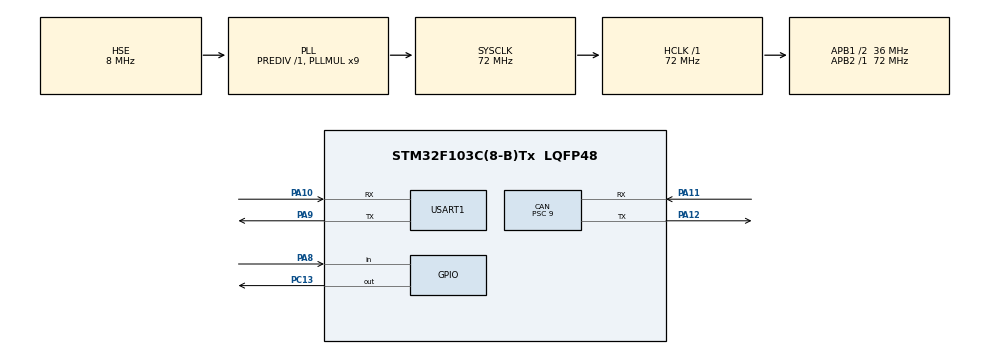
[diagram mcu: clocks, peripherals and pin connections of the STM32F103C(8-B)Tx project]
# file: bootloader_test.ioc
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CAN.BS1=CAN_BS1_12TQ
CAN.BS2=CAN_BS2_3TQ
CAN.CalculateBaudRate=250000
CAN.CalculateTimeBit=4000.00
CAN.CalculateTimeQuantum=250.0
CAN.Prescaler=9
Mcu.Family=STM32F1
Mcu.Name=STM32F103C(8-B)Tx
Mcu.Package=LQFP48
NVIC.PriorityGroup=NVIC_PRIORITYGROUP_4
PA10.Mode=Asynchronous
PA10.Signal=USART1_RX
PA11.Mode=CAN_Activate
PA11.Signal=CAN_RX
PA12.Mode=CAN_Activate
PA12.Signal=CAN_TX
PA13.Mode=Serial_Wire
PA13.Signal=SYS_JTMS-SWDIO
PA14.Mode=Serial_Wire
PA14.Signal=SYS_JTCK-SWCLK
PA8.Signal=GPIO_Input
PA9.Mode=Asynchronous
PA9.Signal=USART1_TX
PC13-TAMPER-RTC.Signal=GPIO_Output
PC14-OSC32_IN.Mode=LSE-External-Oscillator
PC14-OSC32_IN.Signal=RCC_OSC32_IN
PC15-OSC32_OUT.Mode=LSE-External-Oscillator
PC15-OSC32_OUT.Signal=RCC_OSC32_OUT
PD0-OSC_IN.Mode=HSE-External-Oscillator
PD0-OSC_IN.Signal=RCC_OSC_IN
PD1-OSC_OUT.Mode=HSE-External-Oscillator
PD1-OSC_OUT.Signal=RCC_OSC_OUT
ProjectManager.HeapSize=0x200
ProjectManager.StackSize=0x400
ProjectManager.TargetToolchain=STM32CubeIDE
RCC.AHBFreq_Value=72000000
RCC.APB1CLKDivider=RCC_HCLK_DIV2
RCC.APB1Freq_Value=36000000
RCC.APB1TimFreq_Value=72000000
RCC.APB2Freq_Value=72000000
RCC.APB2TimFreq_Value=72000000
RCC.HCLKFreq_Value=72000000
RCC.PLLMUL=RCC_PLL_MUL9
RCC.PLLSourceVirtual=RCC_PLLSOURCE_HSE
RCC.SYSCLKFreq_VALUE=72000000
RCC.SYSCLKSource=RCC_SYSCLKSOURCE_PLLCLK
RCC.USBFreq_Value=72000000
USART1.VirtualMode=VM_ASYNC
VP_CRC_VS_CRC.Mode=CRC_Activate
board=custom

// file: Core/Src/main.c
/* USER CODE BEGIN Header */
/**
 ******************************************************************************
 * @file           : main.c
 * @brief          : Main program body
 ******************************************************************************
 * @attention
 *
 * <h2><center>&copy; Copyright (c) 2022 STMicroelectronics.
 * All rights reserved.</center></h2>
 *
 * This software component is licensed by ST under BSD 3-Clause license,
 * the "License"; You may not use this file except in compliance with the
 * License. You may obtain a copy of the License at:
 *                        opensource.org/licenses/BSD-3-Clause
 *
 ******************************************************************************
 */
/* USER CODE END Header */
#include "main.h"

/* USER CODE BEGIN Includes */
#include <stdio.h>
#include <stdarg.h>
#include <string.h>
/* USER CODE END Includes */

/* USER CODE BEGIN PTD */
#define BL_DEBUG_EN

/* USER CODE END PTD */

CAN_HandleTypeDef hcan;

CRC_HandleTypeDef hcrc;

UART_HandleTypeDef huart1;

/* USER CODE BEGIN PV */
#define D_UART &huart1
#define C_UART &hcan
/* USER CODE END PV */

void SystemClock_Config(void);
static void MX_GPIO_Init(void);
static void MX_CAN_Init(void);
static void MX_CRC_Init(void);
static void MX_USART1_UART_Init(void);
/* USER CODE BEGIN PFP */
static void printmsg(char *format, ...);

/* USER CODE END PFP */

int main(void) {

	/* MCU Configuration--------------------------------------------------------*/

	/* Reset of all peripherals, Initializes the Flash interface and the Systick. */
	HAL_Init();

	/* Configure the system clock */
	SystemClock_Config();

	/* Initialize all configured peripherals */
	MX_GPIO_Init();
	MX_CAN_Init();
	MX_CRC_Init();
	MX_USART1_UART_Init();

	/* Infinite loop */

	/* USER CODE BEGIN 3 */
	/*CHECK IF HARDWARE SIGNAL TO BOOT PRESENT*/
	if(HAL_GPIO_ReadPin(GPIOA, GPIO_PIN_8) == GPIO_PIN_RESET){
		printmsg("BL_DEBUG_MSG: Enter boot..\n\r");
		bootloader_can_read_data();
	}
	else
	{
		bootloader_jump_to_user_app();
	}
	/* USER CODE END 3 */
}

void SystemClock_Config(void) {
	RCC_OscInitTypeDef RCC_OscInitStruct = { 0 };
	RCC_ClkInitTypeDef RCC_ClkInitStruct = { 0 };

	/** Initializes the RCC Oscillators according to the specified parameters
	 * in the RCC_OscInitTypeDef structure.
	 */
	RCC_OscInitStruct.OscillatorType = RCC_OSCILLATORTYPE_HSE;
	RCC_OscInitStruct.HSEState = RCC_HSE_ON;
	RCC_OscInitStruct.HSEPredivValue = RCC_HSE_PREDIV_DIV1;
	RCC_OscInitStruct.HSIState = RCC_HSI_ON;
	RCC_OscInitStruct.PLL.PLLState = RCC_PLL_ON;
	RCC_OscInitStruct.PLL.PLLSource = RCC_PLLSOURCE_HSE;
	RCC_OscInitStruct.PLL.PLLMUL = RCC_PLL_MUL9;
	if (HAL_RCC_OscConfig(&RCC_OscInitStruct) != HAL_OK) {
		Error_Handler();
	}
	/** Initializes the CPU, AHB and APB buses clocks
	 */
	RCC_ClkInitStruct.ClockType = RCC_CLOCKTYPE_HCLK | RCC_CLOCKTYPE_SYSCLK
			| RCC_CLOCKTYPE_PCLK1 | RCC_CLOCKTYPE_PCLK2;
	RCC_ClkInitStruct.SYSCLKSource = RCC_SYSCLKSOURCE_PLLCLK;
	RCC_ClkInitStruct.AHBCLKDivider = RCC_SYSCLK_DIV1;
	RCC_ClkInitStruct.APB1CLKDivider = RCC_HCLK_DIV2;
	RCC_ClkInitStruct.APB2CLKDivider = RCC_HCLK_DIV1;

	if (HAL_RCC_ClockConfig(&RCC_ClkInitStruct, FLASH_LATENCY_2) != HAL_OK) {
		Error_Handler();
	}
}

static void MX_CAN_Init(void) {

	hcan.Instance = CAN1;
	hcan.Init.Prescaler = 9;
	hcan.Init.Mode = CAN_MODE_NORMAL;
	hcan.Init.SyncJumpWidth = CAN_SJW_1TQ;
	hcan.Init.TimeSeg1 = CAN_BS1_12TQ;
	hcan.Init.TimeSeg2 = CAN_BS2_3TQ;
	hcan.Init.TimeTriggeredMode = DISABLE;
	hcan.Init.AutoBusOff = DISABLE;
	hcan.Init.AutoWakeUp = DISABLE;
	hcan.Init.AutoRetransmission = DISABLE;
	hcan.Init.ReceiveFifoLocked = DISABLE;
	hcan.Init.TransmitFifoPriority = DISABLE;
	if (HAL_CAN_Init(&hcan) != HAL_OK) {
		Error_Handler();
	}

}

static void MX_CRC_Init(void) {

	hcrc.Instance = CRC;
	if (HAL_CRC_Init(&hcrc) != HAL_OK) {
		Error_Handler();
	}

}

static void MX_USART1_UART_Init(void) {

	huart1.Instance = USART1;
	huart1.Init.BaudRate = 115200;
	huart1.Init.WordLength = UART_WORDLENGTH_8B;
	huart1.Init.StopBits = UART_STOPBITS_1;
	huart1.Init.Parity = UART_PARITY_NONE;
	huart1.Init.Mode = UART_MODE_TX_RX;
	huart1.Init.HwFlowCtl = UART_HWCONTROL_NONE;
	huart1.Init.OverSampling = UART_OVERSAMPLING_16;
	if (HAL_UART_Init(&huart1) != HAL_OK) {
		Error_Handler();
	}

}

static void MX_GPIO_Init(void) {
	GPIO_InitTypeDef GPIO_InitStruct = { 0 };

	/* GPIO Ports Clock Enable */
	__HAL_RCC_GPIOC_CLK_ENABLE();
	__HAL_RCC_GPIOD_CLK_ENABLE();
	__HAL_RCC_GPIOA_CLK_ENABLE();

	/*Configure GPIO pin Output Level */
	HAL_GPIO_WritePin(GPIOC, GPIO_PIN_13, GPIO_PIN_RESET);

	/*Configure GPIO pin : PC13 */
	GPIO_InitStruct.Pin = GPIO_PIN_13;
	GPIO_InitStruct.Mode = GPIO_MODE_OUTPUT_PP;
	GPIO_InitStruct.Pull = GPIO_NOPULL;
	GPIO_InitStruct.Speed = GPIO_SPEED_FREQ_LOW;
	HAL_GPIO_Init(GPIOC, &GPIO_InitStruct);

	/*Configure GPIO pin : PA8 */
	GPIO_InitStruct.Pin = GPIO_PIN_8;
	GPIO_InitStruct.Mode = GPIO_MODE_INPUT;
	GPIO_InitStruct.Pull = GPIO_PULLUP;
	HAL_GPIO_Init(GPIOA, &GPIO_InitStruct);

}

/* USER CODE BEGIN 4 */
void printmsg(char *format, ...) {
#ifdef BL_DEBUG_EN
	char str[80];
	va_list args;
	va_start(args, format);
	vsprintf(str, format, args);
	HAL_UART_Transmit(D_UART, (uint8_t*) str, strlen(str), HAL_MAX_DELAY);
	va_end(args);
#endif
}

void bootloader_can_read_data(void){
	uint8_t rcv_len = 0;

	while(1){
		memset(bl_rx_buffer,0,200);
		//Recebe 1 byte para definir a quantidade de bytes posteriores
		HAL_CAN

	}
}

void bootloader_jump_to_user_app(void){
	//ponteiro para guardar o handler da função do usuário
	void (*app_reset_handler)(void);
	printmsg("BL_DEBUG_MSG: Enter app..\n\r");

	//1. Configurar o MSP lendo o valor base do setor inicial da aplicação
	uint32_t msp_value = *(volatile uint32_t *) FLASH_APP_SECTOR_BASE_ADDRES;
	printmsg("BL_DEBUG_MSG: MSP value: %#x\n\r",msp_value);

	// Esta função seta MSP (vem do CMSIS)
	__set_MSP(msp_value);

	//SCP -> VTOR = FLASH_BL_SECTOR_BASE_ADDRESS

	//2. Agora copiar o endereço do reset handler
	uint32_t resethandler_address = *(volatile uint32_t *) (FLASH_APP_SECTOR_BASE_ADDRES+4);

	app_reset_handler = (void*) resethandler_address;

	printmsg("BL_DEBUG_MSG: APP reset handler address: %#x\n\r",app_reset_handler);

	//3.Pula para o reset handler da aplicação
	app_reset_handler();
}

/* USER CODE END 4 */

void Error_Handler(void) {
	__disable_irq();
	while (1) {
	}
}

/************************ (C) COPYRIGHT STMicroelectronics *****END OF FILE****/
